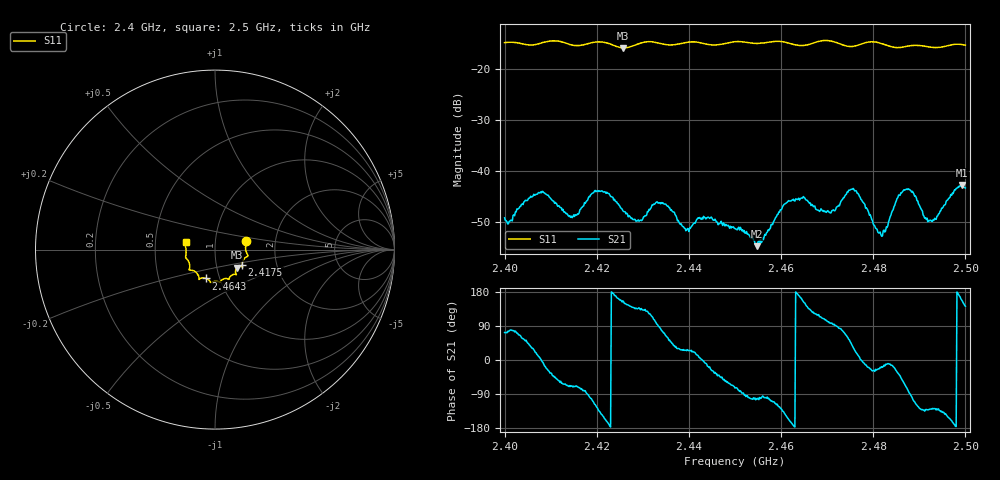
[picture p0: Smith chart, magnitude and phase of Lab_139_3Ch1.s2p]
# Hz S RI R 50
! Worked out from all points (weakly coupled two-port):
!   601 points, 2.4 GHz to 2.5 GHz, reference 50 ohm
!   highest |S21| = -42.71 dB at 2.4992 GHz (marker M1); lowest = -54.7 dB at 2.4547 GHz (marker M2)
!   lowest |S11| = -15.9 dB at 2.4257 GHz (marker M3), VSWR 1.38, Z = 62.5 - j13 ohm
!   |S11| at or under -10 dB: start of sweep to end of sweep
!   S12 and S22 are empty: the file has one direction only
!   S11 on the Smith chart (normalised r, x): 2.4 GHz: 1.41, +0.14; 2.4175 GHz: 1.33, -0.23; 2.4643 GHz: 0.86, -0.29; 2.5 GHz: 0.72, +0.06
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2.4e9  0.1729 0.0484  0.00105 0.00333  0 0  0 0
2.407833e9  0.1764 -0.0189  0.00625 0.000258  0 0  0 0
2.414167e9  0.1655 -0.0476  0.0014 -0.00337  0 0  0 0
2.416667e9  0.1523 -0.0739  0.00109 -0.00423  0 0  0 0
2.4175e9  0.1513 -0.0836  0.000755 -0.00477  0 0  0 0
2.421333e9  0.1539 -0.0968  -0.00532 -0.00332  0 0  0 0
2.425667e9  0.123 -0.1015  -0.00374 0.00165  0 0  0 0
2.429333e9  0.1158 -0.1338  -0.00233 0.00231  0 0  0 0
2.433333e9  0.1137 -0.1374  -9.87e-06 0.00484  0 0  0 0
2.4395e9  0.0792 -0.1622  0.0024 0.0011  0 0  0 0
2.45e9  0.0287 -0.1814  0.000748 -0.00264  0 0  0 0
2.454667e9  0.0051 -0.1765  -0.000375 -0.0018  0 0  0 0
2.464333e9  -0.0498 -0.1608  -0.00519 0.00152  0 0  0 0
2.466667e9  -0.0763 -0.1587  -0.00289 0.00372  0 0  0 0
2.471167e9  -0.0883 -0.1624  -0.000353 0.0041  0 0  0 0
2.475667e9  -0.1128 -0.1209  0.00569 0.00364  0 0  0 0
2.4815e9  -0.1426 -0.1064  0.00239 -0.000849  0 0  0 0
2.483333e9  -0.1405 -0.09  0.00315 -0.000544  0 0  0 0
2.486833e9  -0.1542 -0.0556  0.0028 -0.00587  0 0  0 0
2.492333e9  -0.1613 -0.0221  -0.00211 -0.00255  0 0  0 0
2.499167e9  -0.1681 0.0388  -0.00682 0.00267  0 0  0 0
2.5e9  -0.1642 0.043  -0.00536 0.00422  0 0  0 0
